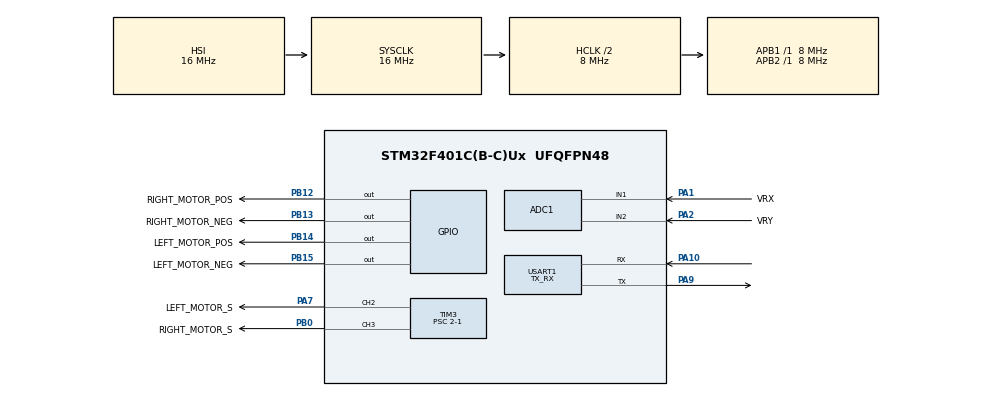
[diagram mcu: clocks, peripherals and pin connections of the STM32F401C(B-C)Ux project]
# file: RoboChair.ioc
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ADC1.Channel-0\#ChannelRegularConversion=ADC_CHANNEL_1
ADC1.Channel-1\#ChannelRegularConversion=ADC_CHANNEL_2
ADC1.ContinuousConvMode=ENABLE
ADC1.NbrOfConversion=2
ADC1.NbrOfConversionFlag=1
ADC1.Rank-0\#ChannelRegularConversion=1
ADC1.Rank-1\#ChannelRegularConversion=2
ADC1.SamplingTime-0\#ChannelRegularConversion=ADC_SAMPLETIME_56CYCLES
ADC1.SamplingTime-1\#ChannelRegularConversion=ADC_SAMPLETIME_56CYCLES
ADC1.ScanConvMode=ENABLE
ADC1.master=1
Dma.ADC1.0.Direction=DMA_PERIPH_TO_MEMORY
Dma.ADC1.0.FIFOMode=DMA_FIFOMODE_DISABLE
Dma.ADC1.0.Instance=DMA2_Stream0
Dma.ADC1.0.MemDataAlignment=DMA_MDATAALIGN_WORD
Dma.ADC1.0.MemInc=DMA_MINC_ENABLE
Dma.ADC1.0.Mode=DMA_NORMAL
Dma.ADC1.0.PeriphDataAlignment=DMA_PDATAALIGN_WORD
Dma.ADC1.0.PeriphInc=DMA_PINC_DISABLE
Dma.ADC1.0.Priority=DMA_PRIORITY_LOW
Dma.Request0=ADC1
Dma.Request1=TIM3_CH2
Dma.Request2=TIM3_CH3
Dma.TIM3_CH2.1.Direction=DMA_MEMORY_TO_PERIPH
Dma.TIM3_CH2.1.FIFOMode=DMA_FIFOMODE_DISABLE
Dma.TIM3_CH2.1.Instance=DMA1_Stream5
Dma.TIM3_CH2.1.MemDataAlignment=DMA_MDATAALIGN_HALFWORD
Dma.TIM3_CH2.1.MemInc=DMA_MINC_ENABLE
Dma.TIM3_CH2.1.Mode=DMA_NORMAL
Dma.TIM3_CH2.1.PeriphDataAlignment=DMA_PDATAALIGN_HALFWORD
Dma.TIM3_CH2.1.PeriphInc=DMA_PINC_DISABLE
Dma.TIM3_CH2.1.Priority=DMA_PRIORITY_LOW
Dma.TIM3_CH3.2.Direction=DMA_PERIPH_TO_MEMORY
Dma.TIM3_CH3.2.FIFOMode=DMA_FIFOMODE_DISABLE
Dma.TIM3_CH3.2.Instance=DMA1_Stream7
Dma.TIM3_CH3.2.MemDataAlignment=DMA_MDATAALIGN_HALFWORD
Dma.TIM3_CH3.2.MemInc=DMA_MINC_ENABLE
Dma.TIM3_CH3.2.Mode=DMA_NORMAL
Dma.TIM3_CH3.2.PeriphDataAlignment=DMA_PDATAALIGN_HALFWORD
Dma.TIM3_CH3.2.PeriphInc=DMA_PINC_DISABLE
Dma.TIM3_CH3.2.Priority=DMA_PRIORITY_LOW
Mcu.Family=STM32F4
Mcu.Name=STM32F401C(B-C)Ux
Mcu.Package=UFQFPN48
NVIC.DMA1_Stream5_IRQn=true\:0\:0\:false\:false\:true\:false\:true\:true
NVIC.DMA1_Stream7_IRQn=true\:0\:0\:false\:false\:true\:false\:true\:true
NVIC.DMA2_Stream0_IRQn=true\:0\:0\:false\:false\:true\:false\:true\:true
NVIC.PriorityGroup=NVIC_PRIORITYGROUP_4
NVIC.USART1_IRQn=true\:0\:0\:false\:false\:true\:true\:true\:true
PA1.GPIO_Label=VRX
PA1.Signal=ADCx_IN1
PA10.Mode=Asynchronous
PA10.Signal=USART1_RX
PA13.Mode=Serial_Wire
PA13.Signal=SYS_JTMS-SWDIO
PA14.Mode=Serial_Wire
PA14.Signal=SYS_JTCK-SWCLK
PA2.GPIO_Label=VRY
PA2.Signal=ADCx_IN2
PA7.GPIO_Label=LEFT_MOTOR_S
PA7.Signal=S_TIM3_CH2
PA9.Mode=Asynchronous
PA9.Signal=USART1_TX
PB0.GPIO_Label=RIGHT_MOTOR_S
PB0.Signal=S_TIM3_CH3
PB12.GPIO_Label=RIGHT_MOTOR_POS
PB12.Signal=GPIO_Output
PB13.GPIO_Label=RIGHT_MOTOR_NEG
PB13.Signal=GPIO_Output
PB14.GPIO_Label=LEFT_MOTOR_POS
PB14.Signal=GPIO_Output
PB15.GPIO_Label=LEFT_MOTOR_NEG
PB15.Signal=GPIO_Output
PH0\ -\ OSC_IN.Mode=HSE-External-Oscillator
PH0\ -\ OSC_IN.Signal=RCC_OSC_IN
PH1\ -\ OSC_OUT.Mode=HSE-External-Oscillator
PH1\ -\ OSC_OUT.Signal=RCC_OSC_OUT
ProjectManager.HeapSize=0x200
ProjectManager.StackSize=0x400
ProjectManager.TargetToolchain=STM32CubeIDE
RCC.48MHZClocksFreq_Value=48000000
RCC.AHBCLKDivider=RCC_SYSCLK_DIV2
RCC.AHBFreq_Value=8000000
RCC.APB1Freq_Value=8000000
RCC.APB1TimFreq_Value=8000000
RCC.APB2Freq_Value=8000000
RCC.APB2TimFreq_Value=8000000
RCC.CortexFreq_Value=8000000
RCC.HCLKFreq_Value=8000000
RCC.HSE_VALUE=8000000
RCC.HSI_VALUE=16000000
RCC.LSE_VALUE=32768
RCC.SYSCLKFreq_VALUE=16000000
RCC.VCOOutputFreq_Value=192000000
SH.ADCx_IN1.0=ADC1_IN1,IN1
SH.ADCx_IN2.0=ADC1_IN2,IN2
SH.S_TIM3_CH2.0=TIM3_CH2,PWM Generation2 CH2
SH.S_TIM3_CH3.0=TIM3_CH3,PWM Generation3 CH3
TIM3.Channel-PWM\ Generation2\ CH2=TIM_CHANNEL_2
TIM3.Channel-PWM\ Generation3\ CH3=TIM_CHANNEL_3
TIM3.Period=400-1
TIM3.Prescaler=2-1
USART1.Mode=MODE_TX_RX
USART1.OverSampling=UART_OVERSAMPLING_8
USART1.VirtualMode=VM_ASYNC
board=custom

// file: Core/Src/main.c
/* USER CODE BEGIN Header */
/**
  ******************************************************************************
  * @file           : main.c
  * @brief          : Main program body
  ******************************************************************************
  * @attention
  *
  * Copyright (c) 2024 STMicroelectronics.
  * All rights reserved.
  *
  * This software is licensed under terms that can be found in the LICENSE file
  * in the root directory of this software component.
  * If no LICENSE file comes with this software, it is provided AS-IS.
  *
  ******************************************************************************
  */
/* USER CODE END Header */
#include "main.h"

/* USER CODE BEGIN PD */
#define RIGHT_MOTOR_POS GPIO_PIN_12
#define RIGHT_MOTOR_NEG GPIO_PIN_13
#define LEFT_MOTOR_POS GPIO_PIN_14
#define LEFT_MOTOR_NEG GPIO_PIN_15
#define MODE_PIN GPIO_PIN_14

#define MANUAL_MODE 1
#define FACE_MODE 2
/* USER CODE END PD */

ADC_HandleTypeDef hadc1;
DMA_HandleTypeDef hdma_adc1;

TIM_HandleTypeDef htim3;
DMA_HandleTypeDef hdma_tim3_ch2;
DMA_HandleTypeDef hdma_tim3_ch3;

UART_HandleTypeDef huart1;

/* USER CODE BEGIN PV */

// JOYSTICK VARIABLES :
uint32_t xMapped = 0;
int32_t Joystick[2];

// FACE VARIABLES :
volatile uint8_t Rx_byte_USART1;
volatile uint8_t Rx_buffer_USART1[10];
volatile uint8_t Rx_idx = 0;
int32_t FACE_SPEED = 300;
uint8_t ISFORWARD = 0;
uint8_t ISTOGGELTED = 1;

// GENERAL VARIABLES :
uint8_t SELECTED_MODE = 2;
int32_t CCR1_VALUE = 0;
int32_t CCR2_VALUE = 0;

/* USER CODE END PV */

void SystemClock_Config(void);
static void MX_GPIO_Init(void);
static void MX_DMA_Init(void);
static void MX_ADC1_Init(void);
static void MX_USART1_UART_Init(void);
static void MX_TIM3_Init(void);
/* USER CODE BEGIN PFP */
void MoveForward();
void TurnLeft();
void TurnRight();
void Stop();
int32_t MAP(int32_t au32_IN, int32_t au32_INmin, int32_t au32_INmax, int32_t au32_OUTmin, int32_t au32_OUTmax);
/* USER CODE END PFP */

/* USER CODE BEGIN 0 */
void HAL_UART_RxCpltCallback(UART_HandleTypeDef *huart)
{
  // UNUSED(huart);
	 if (huart->Instance == USART1) {
		 Rx_buffer_USART1[( Rx_idx++ % 10)] = Rx_byte_USART1;
		 HAL_UART_Receive_IT(&huart1, &Rx_byte_USART1, 1);
	      }
}
/* USER CODE END 0 */

int main(void)
{

  /* MCU Configuration--------------------------------------------------------*/

  /* Reset of all peripherals, Initializes the Flash interface and the Systick. */
  HAL_Init();

  /* Configure the system clock */
  SystemClock_Config();

  /* Initialize all configured peripherals */
  MX_GPIO_Init();
  MX_DMA_Init();
  MX_ADC1_Init();
  MX_USART1_UART_Init();
  MX_TIM3_Init();
  /* USER CODE BEGIN 2 */
  HAL_TIM_PWM_Start(&htim3, TIM_CHANNEL_2);
  HAL_TIM_PWM_Start(&htim3, TIM_CHANNEL_3);

  HAL_UART_Receive_IT(&huart1, &Rx_byte_USART1, 1);
  /* USER CODE END 2 */

  /* Infinite loop */
  /* USER CODE BEGIN WHILE */
  while (1)
  {
	  if (SELECTED_MODE == MANUAL_MODE){
		  HAL_ADC_Start_DMA(&hadc1, Joystick, 2);

		  // Y-AXIS used for forward and backward control
		  if (Joystick[0] >= 2100){ // Move Forward
			  MoveForward();
			  CCR1_VALUE = MAP(Joystick[0], 2100, 4096, 0, 400);
			  CCR2_VALUE = MAP(Joystick[0], 2100, 4096, 0, 400);
		  }
		  else if (Joystick[0] <= 1900){ // Move Backword
			  MoveBackword();
			  CCR1_VALUE = MAP(Joystick[0], 1900, 0, 0, 400);
			  CCR2_VALUE = MAP(Joystick[0], 1900, 0, 0, 400);
		  }
		  else Stop();

		  // X-AXIS used for forward and backward control
		  if (Joystick[1] < 1900){ // Turn Left
			  xMapped = MAP(Joystick[1],1900, 0, 0, 400);

			  CCR1_VALUE += 2 * xMapped; // Increase right motor
			  CCR2_VALUE -= xMapped; // Decrease left motor

			  if (CCR1_VALUE > 400) CCR1_VALUE = 400;
			  if (CCR2_VALUE < 0) CCR2_VALUE = 0;
			  TurnLeft();
		  }
		  else if (Joystick[1] > 2150){ // Turn Right
			  xMapped = MAP(Joystick[1],2150, 4096, 0, 400);
			  CCR1_VALUE -= 2 * xMapped; // Decrease right motor
			  CCR2_VALUE += xMapped; // Increase left motor

			  if (CCR1_VALUE < 0) CCR1_VALUE = 0;
			  if (CCR2_VALUE > 400) CCR2_VALUE = 400;
			  TurnRight();
		  }
	  }
	  else if (SELECTED_MODE == FACE_MODE){
		  if (Rx_byte_USART1 == 'F'){
				CCR1_VALUE = FACE_SPEED;
				CCR2_VALUE = FACE_SPEED;
				MoveForward();
				ISFORWARD = 1;
			}
			else if (Rx_byte_USART1 == 'R'){
				CCR1_VALUE = FACE_SPEED;
				CCR2_VALUE = FACE_SPEED;
				if (ISFORWARD) {CCR1_VALUE -= 50; CCR2_VALUE +=50; MoveForward();}
				else TurnRight();

			}
			else if (Rx_byte_USART1 == 'L'){
				CCR1_VALUE = FACE_SPEED;
				CCR2_VALUE = FACE_SPEED;
				if (ISFORWARD) {CCR1_VALUE += 50; CCR2_VALUE -=50; MoveForward();}
				else TurnLeft();

			}
			else if (Rx_byte_USART1 == 'C'){
				if (!ISFORWARD) Stop();
				else if (ISFORWARD) {MoveForward(); CCR1_VALUE = FACE_SPEED; CCR2_VALUE = FACE_SPEED;}
			}
			else if (Rx_byte_USART1 == 'T'){
				if (ISTOGGELTED) ISTOGGELTED = 0;
				else ISTOGGELTED = 1;
				Rx_buffer_USART1[++Rx_idx] = 'C'; Rx_byte_USART1 = 'C';
				ISFORWARD = 0;
				Stop();
			}
			else if (Rx_byte_USART1 == 'S' || Rx_byte_USART1 == 'N'){
				Stop();
				ISFORWARD = 0;
			}

	  }
	  __HAL_TIM_SET_COMPARE(&htim3,TIM_CHANNEL_3,CCR1_VALUE);
	  __HAL_TIM_SET_COMPARE(&htim3,TIM_CHANNEL_2,CCR2_VALUE);
    /* USER CODE END WHILE */

  }
}

void SystemClock_Config(void)
{
  RCC_OscInitTypeDef RCC_OscInitStruct = {0};
  RCC_ClkInitTypeDef RCC_ClkInitStruct = {0};

  /** Configure the main internal regulator output voltage
  */
  __HAL_RCC_PWR_CLK_ENABLE();
  __HAL_PWR_VOLTAGESCALING_CONFIG(PWR_REGULATOR_VOLTAGE_SCALE2);

  /** Initializes the RCC Oscillators according to the specified parameters
  * in the RCC_OscInitTypeDef structure.
  */
  RCC_OscInitStruct.OscillatorType = RCC_OSCILLATORTYPE_HSI;
  RCC_OscInitStruct.HSIState = RCC_HSI_ON;
  RCC_OscInitStruct.HSICalibrationValue = RCC_HSICALIBRATION_DEFAULT;
  RCC_OscInitStruct.PLL.PLLState = RCC_PLL_NONE;
  if (HAL_RCC_OscConfig(&RCC_OscInitStruct) != HAL_OK)
  {
    Error_Handler();
  }

  /** Initializes the CPU, AHB and APB buses clocks
  */
  RCC_ClkInitStruct.ClockType = RCC_CLOCKTYPE_HCLK|RCC_CLOCKTYPE_SYSCLK
                              |RCC_CLOCKTYPE_PCLK1|RCC_CLOCKTYPE_PCLK2;
  RCC_ClkInitStruct.SYSCLKSource = RCC_SYSCLKSOURCE_HSI;
  RCC_ClkInitStruct.AHBCLKDivider = RCC_SYSCLK_DIV2;
  RCC_ClkInitStruct.APB1CLKDivider = RCC_HCLK_DIV1;
  RCC_ClkInitStruct.APB2CLKDivider = RCC_HCLK_DIV1;

  if (HAL_RCC_ClockConfig(&RCC_ClkInitStruct, FLASH_LATENCY_0) != HAL_OK)
  {
    Error_Handler();
  }
}

static void MX_ADC1_Init(void)
{

  ADC_ChannelConfTypeDef sConfig = {0};

  /** Configure the global features of the ADC (Clock, Resolution, Data Alignment and number of conversion)
  */
  hadc1.Instance = ADC1;
  hadc1.Init.ClockPrescaler = ADC_CLOCK_SYNC_PCLK_DIV2;
  hadc1.Init.Resolution = ADC_RESOLUTION_12B;
  hadc1.Init.ScanConvMode = ENABLE;
  hadc1.Init.ContinuousConvMode = ENABLE;
  hadc1.Init.DiscontinuousConvMode = DISABLE;
  hadc1.Init.ExternalTrigConvEdge = ADC_EXTERNALTRIGCONVEDGE_NONE;
  hadc1.Init.ExternalTrigConv = ADC_SOFTWARE_START;
  hadc1.Init.DataAlign = ADC_DATAALIGN_RIGHT;
  hadc1.Init.NbrOfConversion = 2;
  hadc1.Init.DMAContinuousRequests = DISABLE;
  hadc1.Init.EOCSelection = ADC_EOC_SINGLE_CONV;
  if (HAL_ADC_Init(&hadc1) != HAL_OK)
  {
    Error_Handler();
  }

  /** Configure for the selected ADC regular channel its corresponding rank in the sequencer and its sample time.
  */
  sConfig.Channel = ADC_CHANNEL_1;
  sConfig.Rank = 1;
  sConfig.SamplingTime = ADC_SAMPLETIME_56CYCLES;
  if (HAL_ADC_ConfigChannel(&hadc1, &sConfig) != HAL_OK)
  {
    Error_Handler();
  }

  /** Configure for the selected ADC regular channel its corresponding rank in the sequencer and its sample time.
  */
  sConfig.Channel = ADC_CHANNEL_2;
  sConfig.Rank = 2;
  if (HAL_ADC_ConfigChannel(&hadc1, &sConfig) != HAL_OK)
  {
    Error_Handler();
  }

}

static void MX_TIM3_Init(void)
{

  TIM_MasterConfigTypeDef sMasterConfig = {0};
  TIM_OC_InitTypeDef sConfigOC = {0};

  htim3.Instance = TIM3;
  htim3.Init.Prescaler = 2-1;
  htim3.Init.CounterMode = TIM_COUNTERMODE_UP;
  htim3.Init.Period = 400-1;
  htim3.Init.ClockDivision = TIM_CLOCKDIVISION_DIV1;
  htim3.Init.AutoReloadPreload = TIM_AUTORELOAD_PRELOAD_DISABLE;
  if (HAL_TIM_PWM_Init(&htim3) != HAL_OK)
  {
    Error_Handler();
  }
  sMasterConfig.MasterOutputTrigger = TIM_TRGO_RESET;
  sMasterConfig.MasterSlaveMode = TIM_MASTERSLAVEMODE_DISABLE;
  if (HAL_TIMEx_MasterConfigSynchronization(&htim3, &sMasterConfig) != HAL_OK)
  {
    Error_Handler();
  }
  sConfigOC.OCMode = TIM_OCMODE_PWM1;
  sConfigOC.Pulse = 0;
  sConfigOC.OCPolarity = TIM_OCPOLARITY_HIGH;
  sConfigOC.OCFastMode = TIM_OCFAST_DISABLE;
  if (HAL_TIM_PWM_ConfigChannel(&htim3, &sConfigOC, TIM_CHANNEL_2) != HAL_OK)
  {
    Error_Handler();
  }
  if (HAL_TIM_PWM_ConfigChannel(&htim3, &sConfigOC, TIM_CHANNEL_3) != HAL_OK)
  {
    Error_Handler();
  }
  HAL_TIM_MspPostInit(&htim3);

}

static void MX_USART1_UART_Init(void)
{

  huart1.Instance = USART1;
  huart1.Init.BaudRate = 115200;
  huart1.Init.WordLength = UART_WORDLENGTH_8B;
  huart1.Init.StopBits = UART_STOPBITS_1;
  huart1.Init.Parity = UART_PARITY_NONE;
  huart1.Init.Mode = UART_MODE_TX_RX;
  huart1.Init.HwFlowCtl = UART_HWCONTROL_NONE;
  huart1.Init.OverSampling = UART_OVERSAMPLING_8;
  if (HAL_UART_Init(&huart1) != HAL_OK)
  {
    Error_Handler();
  }

}

static void MX_DMA_Init(void)
{

  /* DMA controller clock enable */
  __HAL_RCC_DMA2_CLK_ENABLE();
  __HAL_RCC_DMA1_CLK_ENABLE();

  /* DMA interrupt init */
  /* DMA1_Stream5_IRQn interrupt configuration */
  HAL_NVIC_SetPriority(DMA1_Stream5_IRQn, 0, 0);
  HAL_NVIC_EnableIRQ(DMA1_Stream5_IRQn);
  /* DMA1_Stream7_IRQn interrupt configuration */
  HAL_NVIC_SetPriority(DMA1_Stream7_IRQn, 0, 0);
  HAL_NVIC_EnableIRQ(DMA1_Stream7_IRQn);
  /* DMA2_Stream0_IRQn interrupt configuration */
  HAL_NVIC_SetPriority(DMA2_Stream0_IRQn, 0, 0);
  HAL_NVIC_EnableIRQ(DMA2_Stream0_IRQn);

}

static void MX_GPIO_Init(void)
{
  GPIO_InitTypeDef GPIO_InitStruct = {0};

  /* GPIO Ports Clock Enable */
  __HAL_RCC_GPIOH_CLK_ENABLE();
  __HAL_RCC_GPIOA_CLK_ENABLE();
  __HAL_RCC_GPIOB_CLK_ENABLE();

  /*Configure GPIO pin Output Level */
  HAL_GPIO_WritePin(GPIOB, RIGHT_MOTOR_POS_Pin|RIGHT_MOTOR_NEG_Pin|LEFT_MOTOR_POS_Pin|LEFT_MOTOR_NEG_Pin, GPIO_PIN_RESET);

  /*Configure GPIO pins : RIGHT_MOTOR_POS_Pin RIGHT_MOTOR_NEG_Pin LEFT_MOTOR_POS_Pin LEFT_MOTOR_NEG_Pin */
  GPIO_InitStruct.Pin = RIGHT_MOTOR_POS_Pin|RIGHT_MOTOR_NEG_Pin|LEFT_MOTOR_POS_Pin|LEFT_MOTOR_NEG_Pin;
  GPIO_InitStruct.Mode = GPIO_MODE_OUTPUT_PP;
  GPIO_InitStruct.Pull = GPIO_NOPULL;
  GPIO_InitStruct.Speed = GPIO_SPEED_FREQ_LOW;
  HAL_GPIO_Init(GPIOB, &GPIO_InitStruct);

}

/* USER CODE BEGIN 4 */
int32_t MAP(int32_t au32_IN, int32_t au32_INmin, int32_t au32_INmax, int32_t au32_OUTmin, int32_t au32_OUTmax)
{
    return ((((au32_IN - au32_INmin)*(au32_OUTmax - au32_OUTmin))/(au32_INmax - au32_INmin)) + au32_OUTmin);
}
void Stop(){
	CCR1_VALUE = 0;
	CCR2_VALUE = 0;

	 HAL_GPIO_WritePin(GPIOB, RIGHT_MOTOR_POS, GPIO_PIN_RESET);
	 HAL_GPIO_WritePin(GPIOB, RIGHT_MOTOR_NEG, GPIO_PIN_RESET);

	 HAL_GPIO_WritePin(GPIOB, LEFT_MOTOR_POS, GPIO_PIN_RESET);
	 HAL_GPIO_WritePin(GPIOB, LEFT_MOTOR_NEG, GPIO_PIN_RESET);
}

void MoveForward(){
	 HAL_GPIO_WritePin(GPIOB, RIGHT_MOTOR_POS, GPIO_PIN_SET);
	 HAL_GPIO_WritePin(GPIOB, RIGHT_MOTOR_NEG, GPIO_PIN_RESET);

	 HAL_GPIO_WritePin(GPIOB, LEFT_MOTOR_POS, GPIO_PIN_SET);
	 HAL_GPIO_WritePin(GPIOB, LEFT_MOTOR_NEG, GPIO_PIN_RESET);

 }

void MoveBackword(){
	 HAL_GPIO_WritePin(GPIOB, RIGHT_MOTOR_POS, GPIO_PIN_RESET);
	 HAL_GPIO_WritePin(GPIOB, RIGHT_MOTOR_NEG, GPIO_PIN_SET);

	 HAL_GPIO_WritePin(GPIOB, LEFT_MOTOR_POS, GPIO_PIN_RESET);
	 HAL_GPIO_WritePin(GPIOB, LEFT_MOTOR_NEG, GPIO_PIN_SET);

 }

void TurnRight(){
	 HAL_GPIO_WritePin(GPIOB, RIGHT_MOTOR_POS, GPIO_PIN_RESET);
	 HAL_GPIO_WritePin(GPIOB, RIGHT_MOTOR_NEG, GPIO_PIN_RESET);

	 HAL_GPIO_WritePin(GPIOB, LEFT_MOTOR_POS, GPIO_PIN_SET);
	 HAL_GPIO_WritePin(GPIOB, LEFT_MOTOR_NEG, GPIO_PIN_RESET);

 }

void TurnLeft(){
	 HAL_GPIO_WritePin(GPIOB, RIGHT_MOTOR_POS, GPIO_PIN_SET);
	 HAL_GPIO_WritePin(GPIOB, RIGHT_MOTOR_NEG, GPIO_PIN_RESET);

	 HAL_GPIO_WritePin(GPIOB, LEFT_MOTOR_POS, GPIO_PIN_RESET);
	 HAL_GPIO_WritePin(GPIOB, LEFT_MOTOR_NEG, GPIO_PIN_RESET);

 }
/* USER CODE END 4 */

void Error_Handler(void)
{
  __disable_irq();
  while (1)
  {
  }
}
